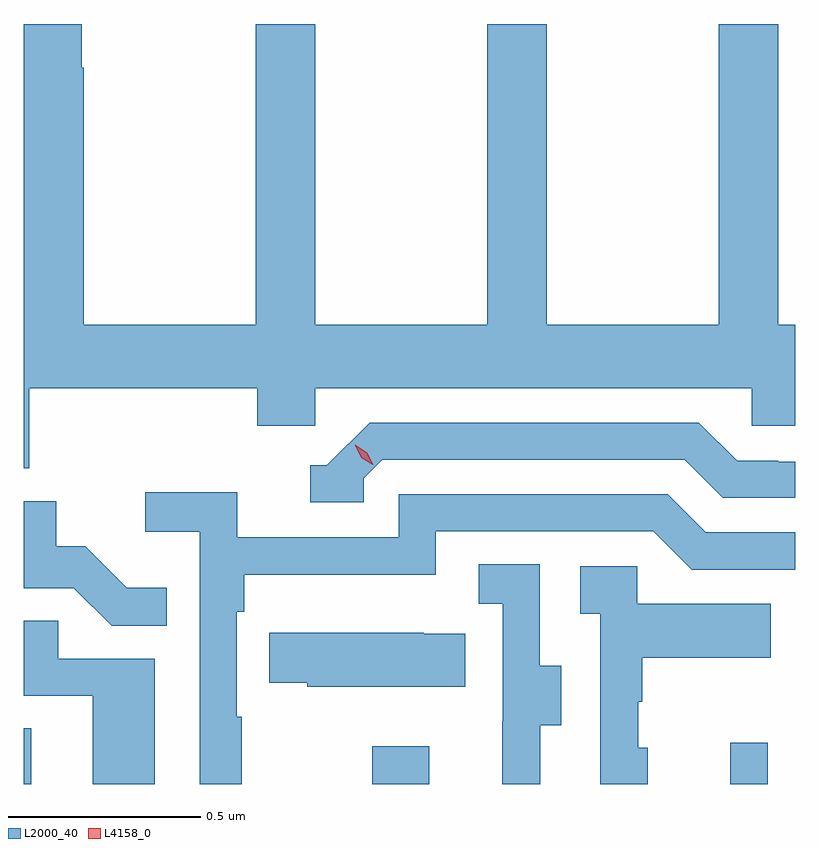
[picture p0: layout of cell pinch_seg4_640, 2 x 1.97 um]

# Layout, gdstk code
import gdstk
lib = gdstk.Library(unit=1e-6, precision=1e-09)
def R(c, l, rs):  # rectangles x0, y0, x1, y1
    for r in rs: c.add(gdstk.rectangle(r[:2], r[2:], *l))
def P(c, l, *ps):  # polygons
    for p in ps: c.add(gdstk.Polygon(p, *l))
L2000_40 = (2000, 40)
L4158_0 = (4158, 0)

pinch_seg4_640 = lib.new_cell('pinch_seg4_640')
R(pinch_seg4_640, L2000_40, [(1028.946,750.506,1028.965,750.65), (1029.85,750.506,1029.997,750.604), (1030.778,750.506,1030.875,750.613)])
P(pinch_seg4_640, L2000_40, [(1028.96,751.532),(1029.551,751.532),(1029.551,751.434),(1029.702,751.434),(1029.702,751.532),(1030.833,751.532),(1030.833,751.434),(1030.946,751.434),(1030.946,751.696),(1030.902,751.696),(1030.902,752.476),(1030.747,752.476),(1030.747,751.696),(1030.302,751.696),(1030.302,752.476),(1030.147,752.476),(1030.147,751.696),(1029.702,751.696),(1029.702,752.476),(1029.547,752.476),(1029.547,751.696),(1029.102,751.696),(1029.102,752.363),(1029.097,752.363),(1029.097,752.476),(1028.946,752.476),(1028.946,751.324),(1028.96,751.324)],
  [(1029.828,751.299),(1029.876,751.347),(1030.659,751.347),(1030.758,751.248),(1030.946,751.248),(1030.946,751.341),(1030.902,751.341),(1030.902,751.344),(1030.795,751.344),(1030.696,751.443),(1029.843,751.443),(1029.732,751.332),(1029.689,751.332),(1029.689,751.236),(1029.828,751.236)],
  [(1029.511,750.68),(1029.498,750.68),(1029.498,750.953),(1029.518,750.953),(1029.518,751.049),(1030.014,751.049),(1030.014,751.161),(1030.578,751.161),(1030.677,751.062),(1030.946,751.062),(1030.946,751.158),(1030.714,751.158),(1030.615,751.257),(1029.918,751.257),(1029.918,751.146),(1029.5,751.146),(1029.5,751.262),(1029.261,751.262),(1029.261,751.16),(1029.402,751.16),(1029.402,750.506),(1029.511,750.506)],
  [(1029.317,751.015),(1029.213,751.015),(1029.106,751.122),(1029.03,751.122),(1029.03,751.239),(1028.946,751.239),(1028.946,751.014),(1029.076,751.014),(1029.174,750.916),(1029.317,750.916)],
  [(1030.285,750.658),(1030.339,750.658),(1030.339,750.813),(1030.284,750.813),(1030.284,751.076),(1030.125,751.076),(1030.125,750.973),(1030.188,750.973),(1030.188,750.669),(1030.187,750.669),(1030.187,750.506),(1030.285,750.506)],
  [(1030.564,750.6),(1030.539,750.6),(1030.539,750.719),(1030.549,750.719),(1030.549,750.833),(1030.883,750.833),(1030.883,750.973),(1030.536,750.973),(1030.536,751.071),(1030.389,751.071),(1030.389,750.947),(1030.44,750.947),(1030.44,750.506),(1030.564,750.506)],
  [(1029.286,750.831),(1029.035,750.831),(1029.035,750.929),(1028.946,750.929),(1028.946,750.735),(1029.125,750.735),(1029.125,750.506),(1029.286,750.506)],
  [(1030.091,750.895),(1029.983,750.895),(1029.983,750.898),(1029.583,750.898),(1029.583,750.769),(1029.681,750.769),(1029.681,750.758),(1030.091,750.758)])
P(pinch_seg4_640, L4158_0, [(1029.851,751.333),(1029.821,751.352),(1029.805,751.384),(1029.805,751.385),(1029.805,751.385),(1029.836,751.365),(1029.852,751.333),(1029.852,751.333)])

lib.write_gds('pinch_seg4_640.gds')
